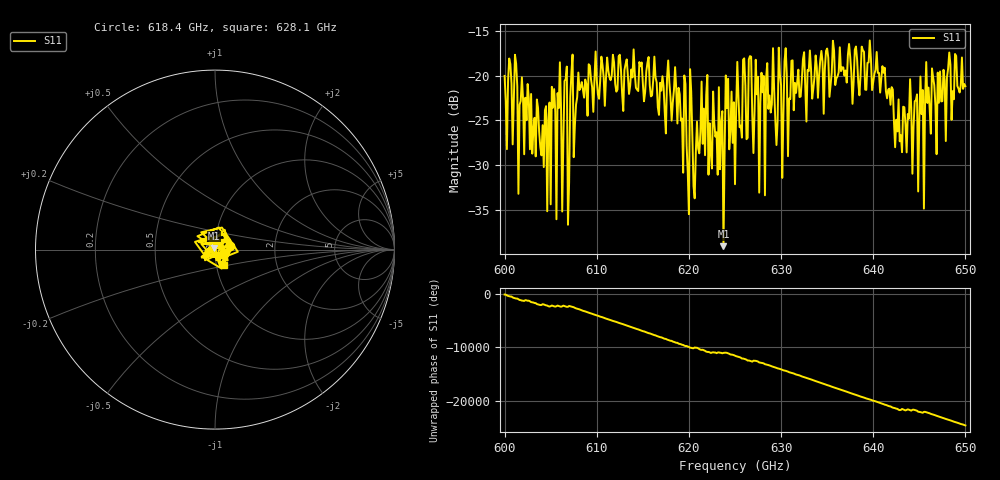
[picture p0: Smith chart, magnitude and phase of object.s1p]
!Created with skrf (http://scikit-rf.org).
# GHz S MA R 50.0
!freq magS11 angS11
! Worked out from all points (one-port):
!   401 points, 600 GHz to 650 GHz, reference 50 ohm
!   lowest |S11| = -39.1 dB at 623.8 GHz (marker M1), VSWR 1.02, Z = 49.4 + j0.923 ohm
!   |S11| at or under -10 dB: start of sweep to end of sweep
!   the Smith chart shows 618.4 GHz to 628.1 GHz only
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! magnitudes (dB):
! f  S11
! 600 GHz  -20.0
! 601.1 GHz  -17.7
! 604.8 GHz  -25.0
! 605.1 GHz  -21.2
! 606.2 GHz  -35.2
! 607 GHz  -31.9
! 608.2 GHz  -21.3
! 612.5 GHz  -17.6
! 618.8 GHz  -25.3
! 620.8 GHz  -28.5
! 621.8 GHz  -28.9
! 622.4 GHz  -28.7
! 623.4 GHz  -30.5
! 623.6 GHz  -24.0
! 623.8 GHz  -39.1
! 624.2 GHz  -20.3
! 625 GHz  -32.1
! 626.6 GHz  -17.8
! 628.5 GHz  -18.6
! 631.2 GHz  -18.3
! 637.5 GHz  -17.9
! 640.4 GHz  -17.3
! 642.9 GHz  -27.3
! 643.8 GHz  -24.3
! 645.2 GHz  -24.3
! 645.9 GHz  -23.0
! 648.2 GHz  -17.4
! 650 GHz  -21.2
